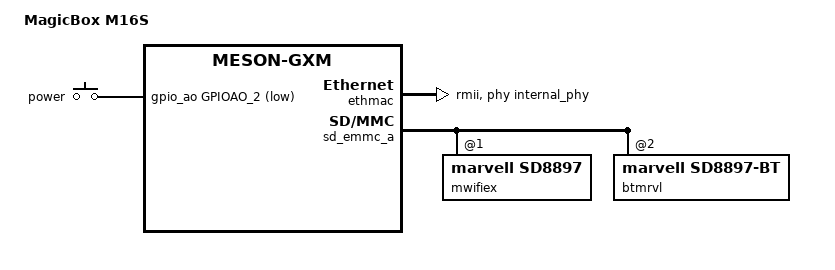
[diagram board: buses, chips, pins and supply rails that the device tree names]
// SPDX-License-Identifier: (GPL-2.0+ OR MIT)
/*
 * Copyright (c) 2022 Zhang Ning <zhangn1985@qq.com>
 */

/dts-v1/;

#include "meson-gxm.dtsi"
#include "meson-gx-p23x-q20x.dtsi"
#include <dt-bindings/input/input.h>

/ {
	compatible = "tmall,magicbox-m16s", "amlogic,s912", "amlogic,meson-gxm";
	model = "MagicBox M16S";

	gpio-keys {
		compatible = "gpio-keys-polled";
		poll-interval = <100>;

		key-power {
			label = "power";
			linux,code = <KEY_POWER>;
			gpios = <&gpio_ao GPIOAO_2 GPIO_ACTIVE_LOW>;
		};
	};

	&sdio_pwrseq {
		reset-gpios = <&gpio GPIODV_2 GPIO_ACTIVE_LOW>;
	};
};

&ethmac {
	phy-mode = "rmii";
	phy-handle = <&internal_phy>;
};

&ir {
	linux,rc-map-name = "rc-magicbox";
};

&sd_emmc_a {
	mwifiex: wifi@1 {
		reg = <1>;
		compatible = "marvell,sd8897";
		interrupt-parent = <&gpio_intc>;
		interrupts = <96 IRQ_TYPE_EDGE_RISING>;
		/* marvell,wakeup-pin = <3>; ??? TBC */
	};

	btmrvl: bt@2 {
		compatible = "marvell,sd8897-bt";
		reg = <2>;
		interrupt-parent = <&gpio_intc>;
		interrupts = <106 IRQ_TYPE_EDGE_RISING>;
		/* marvell,wakeup-pin = /bits/ 16 <0x0d>; ??? (TBC) */
		/* marvell,wakeup-gap-ms = /bits/ 16 <0x64>; ??? (TBC) */
	};
};
